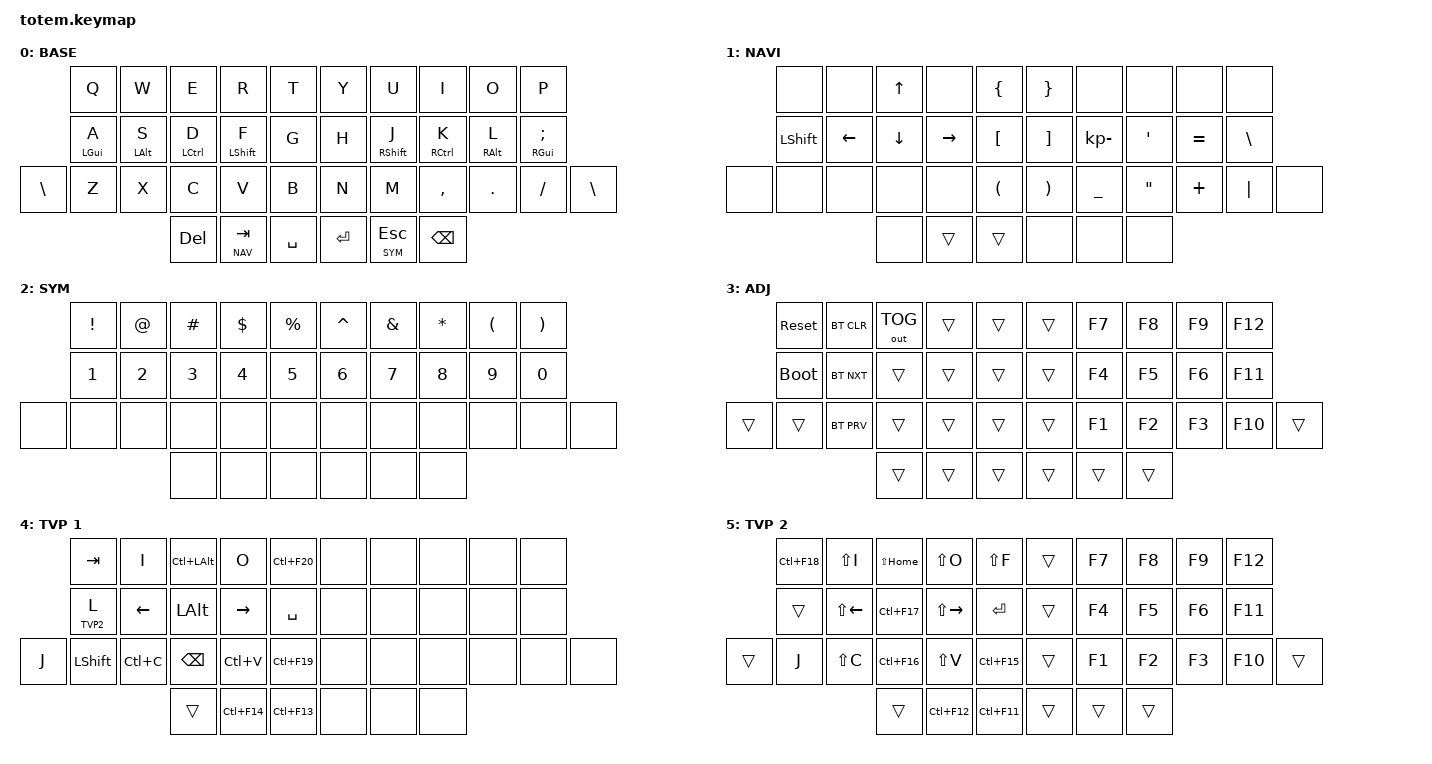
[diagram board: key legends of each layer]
//
//                                                        ▀▀▀▀▀     ▀▀▀▀▀          ▀▀█▀▀
//                                                        ▄▀▀▀▄  ▄  ▄▀▀▀▄  ▄  ▄▀▀▀▄  █  ▄▀▀▀▄
//                                                        █   █  █  █   █  █  █   █  █  █   █
//                                                         ▀▀▀   █   ▀▀▀   █   ▀▀▀   ▀   ▀▀▀
//                                                               █      ▄▄▄█▄▄▄    █   █  
//                                                               ▀      █  █  █     █▄█
//                                                             ▀▀▀▀▀    █  █  █      ▀
//                                                                      ▀  ▀  ▀
//
// ▄▄▄▄▄▄▄▄▄▄▄▄▄▄▄▄▄▄▄▄▄▄▄▄▄▄▄▄▄▄▄▄▄▄▄▄▄▄▄▄▄▄▄▄▄▄▄▄▄▄▄▄▄▄▄▄▄▄▄▄▄▄▄▄▄▄▄▄▄▄▄▄▄▄▄▄▄▄▄▄▄▄▄▄▄▄▄▄▄▄▄▄▄▄▄▄▄▄▄▄▄▄▄▄▄▄▄▄▄▄▄▄▄▄▄▄▄▄▄▄▄▄▄▄▄▄▄▄▄▄▄▄▄▄▄▄▄▄▄▄▄▄▄▄▄▄▄▄▄
       

#include <behaviors.dtsi>
#include <dt-bindings/zmk/keys.h>
#include <dt-bindings/zmk/bt.h>
#include <dt-bindings/zmk/outputs.h>

#define BASE 0
#define NAV  1
#define SYM  2
#define ADJ  3
#define TVP1 4
#define TVP2 5

&mt {
  quick-tap-ms = <150>;
  global-quick-tap;
  flavor = "tap-preferred";
  tapping-term-ms = <170>;
};

/ {
     combos {
            compatible = "zmk,combos";
            combo_esc {
                timeout-ms = <50>;
                key-positions = <0 1>;
                bindings = <&kp ESC>;
            };
            combo_tvp {
                timeout-ms = <100>;
                key-positions = <11 12 13>;
                bindings = <&tog TVP1>;
            };
    };

    macros {
        gif: gif {
            label = "giphy";
            compatible = "zmk,behavior-macro";
            #binding-cells = <0>;
            bindings
                = <&macro_press &kp LSHFT>
                , <&macro_tap &kp N2>
                , <&macro_release &kp LSHFT>
                , <&macro_tap &kp G &kp I &kp F>
                ;
        };
    };

        keymap {
                compatible = "zmk,keymap";
// ▄▄▄▄▄▄▄▄▄▄▄▄▄▄▄▄▄▄▄▄▄▄▄▄▄▄▄▄▄▄▄▄▄▄▄▄▄▄▄▄▄▄▄▄▄▄▄▄▄▄▄▄▄▄▄▄▄▄▄▄▄▄▄▄▄▄▄▄▄▄▄▄▄▄▄▄▄▄▄▄▄▄▄▄▄▄▄▄▄▄▄▄▄▄▄▄▄▄▄▄▄▄▄▄▄▄▄▄▄▄▄▄▄▄▄▄▄▄▄▄▄▄▄▄▄▄▄▄▄▄▄▄▄▄▄▄▄▄▄▄▄▄▄▄▄▄▄▄▄

                base_layer {
// ┏━━━━━━━━━━━━━━━━━━━━━━━━━━━━━━━━━━━━━━━┓
label= "BASE"                              ;
// ┗━━━━━━━━━━━━━━━━━━━━━━━━━━━━━━━━━━━━━━━┛
//             ┏━━━━━━━━━━━┳━━━━━━━━━━━┳━━━━━━━━━━━┳━━━━━━━━━━━┳━━━━━━━━━━━┓   ┏━━━━━━━━━━━┳━━━━━━━━━━━┳━━━━━━━━━━━┳━━━━━━━━━━━┳━━━━━━━━━━━┓
//             ┃     Q     ┃     W     ┃     E     ┃     R     ┃     T     ┃   ┃     Y     ┃     U     ┃     I     ┃     O     ┃     P     ┃
//             ┣━━━━━━━━━━━╋━━━━━━━━━━━╋━━━━━━━━━━━╋━━━━━━━━━━━╋━━━━━━━━━━━┫   ┣━━━━━━━━━━━╋━━━━━━━━━━━╋━━━━━━━━━━━╋━━━━━━━━━━━╋━━━━━━━━━━━┫
//             ┃     A     ┃     S     ┃     D     ┃     F     ┃     G     ┃   ┃     H     ┃     J     ┃     K     ┃     L     ┃    ;:     ┃
// ┏━━━━━━━━━━━╋━━━━━━━━━━━╋━━━━━━━━━━━╋━━━━━━━━━━━╋━━━━━━━━━━━╋━━━━━━━━━━━┫   ┣━━━━━━━━━━━╋━━━━━━━━━━━╋━━━━━━━━━━━╋━━━━━━━━━━━╋━━━━━━━━━━━╋━━━━━━━━━━━┓
// ┃    \|     ┃     Z     ┃     X     ┃     C     ┃     V     ┃     B     ┃   ┃     N     ┃     M     ┃    ,<     ┃    .>     ┃    /?     ┃    \|     ┃
// ┗━━━━━━━━━━━┻━━━━━━━━━━━┻━━━━━━━━━━━╋━━━━━━━━━━━╋━━━━━━━━━━━╋━━━━━━━━━━━┫   ┣━━━━━━━━━━━╋━━━━━━━━━━━╋━━━━━━━━━━━╋━━━━━━━━━━━┻━━━━━━━━━━━┻━━━━━━━━━━━┛
//                                     ┃    DEL    ┃ NAV/TAB   ┃    SPC    ┃   ┃   ENTER   ┃ SYM/ESC   ┃   BSPC    ┃
//                                     ┗━━━━━━━━━━━┻━━━━━━━━━━━┻━━━━━━━━━━━┛   ┗━━━━━━━━━━━┻━━━━━━━━━━━┻━━━━━━━━━━━┛
 bindings = <
// ╷           ╷           ╷           ╷           ╷           ╷           ╷   ╷           ╷           ╷           ╷           ╷           ╷           ╷

                &kp Q       &kp W       &kp E       &kp R       &kp T           &kp Y       &kp U       &kp I       &kp O       &kp P
                &mt LGUI A  &mt LALT S  &mt LCTRL D &mt LSHFT F &kp G           &kp H       &mt RSHFT J &mt RCTRL K &mt RALT L  &mt RGUI SEMI
    &kp BSLH    &kp Z       &kp X       &kp C       &kp V       &kp B           &kp N       &kp M       &kp COMMA   &kp DOT     &kp FSLH    &kp BSLH
                                        &kp DEL   &lt NAV TAB   &kp SPACE       &kp RET   &lt SYM ESC   &kp BSPC
                        >;
                };

// ▄▄▄▄▄▄▄▄▄▄▄▄▄▄▄▄▄▄▄▄▄▄▄▄▄▄▄▄▄▄▄▄▄▄▄▄▄▄▄▄▄▄▄▄▄▄▄▄▄▄▄▄▄▄▄▄▄▄▄▄▄▄▄▄▄▄▄▄▄▄▄▄▄▄▄▄▄▄▄▄▄▄▄▄▄▄▄▄▄▄▄▄▄▄▄▄▄▄▄▄▄▄▄▄▄▄▄▄▄▄▄▄▄▄▄▄▄▄▄▄▄▄▄▄▄▄▄▄▄▄▄▄▄▄▄▄▄▄▄▄▄▄▄▄▄▄▄▄▄


                nav_layer {
// ┏━━━━━━━━━━━━━━━━━━━━━━━━━━━━━━━━━━━━━━━┓
label= "NAVI"                              ;
// ┗━━━━━━━━━━━━━━━━━━━━━━━━━━━━━━━━━━━━━━━┛
//             ┏━━━━━━━━━━━┳━━━━━━━━━━━┳━━━━━━━━━━━┳━━━━━━━━━━━┳━━━━━━━━━━━┓   ┏━━━━━━━━━━━┳━━━━━━━━━━━┳━━━━━━━━━━━┳━━━━━━━━━━━┳━━━━━━━━━━━┓
//             ┃           ┃           ┃     UP    ┃           ┃     {     ┃   ┃     }     ┃           ┃           ┃           ┃           ┃
//             ┣━━━━━━━━━━━╋━━━━━━━━━━━╋━━━━━━━━━━━╋━━━━━━━━━━━╋━━━━━━━━━━━┫   ┣━━━━━━━━━━━╋━━━━━━━━━━━╋━━━━━━━━━━━╋━━━━━━━━━━━╋━━━━━━━━━━━┫
//             ┃   SHIFT   ┃   LEFT    ┃    DOWN   ┃   RIGHT   ┃     [     ┃   ┃     ]     ┃     -     ┃     '     ┃     =     ┃     \     ┃
// ┏━━━━━━━━━━━╋━━━━━━━━━━━╋━━━━━━━━━━━╋━━━━━━━━━━━╋━━━━━━━━━━━╋━━━━━━━━━━━┫   ┣━━━━━━━━━━━╋━━━━━━━━━━━╋━━━━━━━━━━━╋━━━━━━━━━━━╋━━━━━━━━━━━╋━━━━━━━━━━━┓
// ┃           ┃           ┃           ┃           ┃           ┃     (     ┃   ┃     )     ┃     _     ┃     "     ┃     +     ┃     |     ┃           ┃
// ┗━━━━━━━━━━━┻━━━━━━━━━━━┻━━━━━━━━━━━╋━━━━━━━━━━━╋━━━━━━━━━━━╋━━━━━━━━━━━┫   ┣━━━━━━━━━━━╋━━━━━━━━━━━╋━━━━━━━━━━━╋━━━━━━━━━━━┻━━━━━━━━━━━┻━━━━━━━━━━━┛
//                                     ┃           ┃    TAB    ┃    SPC    ┃   ┃           ┃           ┃           ┃
//                                     ┗━━━━━━━━━━━┻━━━━━━━━━━━┻━━━━━━━━━━━┛   ┗━━━━━━━━━━━┻━━━━━━━━━━━┻━━━━━━━━━━━┛
 bindings = <
// ╷           ╷           ╷           ╷           ╷           ╷           ╷   ╷           ╷           ╷           ╷           ╷           ╷           ╷

                &none       &none       &kp UP      &none       &kp LBRC        &kp RBRC    &none        &none      &none       &none
                &kp LSHFT   &kp LEFT    &kp DOWN    &kp RIGHT   &kp LBKT        &kp RBKT    &kp KP_MINUS &kp SQT    &kp EQUAL   &kp BSLH
    &none       &none       &none       &none       &none       &kp LPAR        &kp RPAR    &kp UNDER    &kp DQT    &kp PLUS    &kp PIPE    &none      
                                        &none       &trans      &trans          &none       &none        &none      
                        >;
                };

// ▄▄▄▄▄▄▄▄▄▄▄▄▄▄▄▄▄▄▄▄▄▄▄▄▄▄▄▄▄▄▄▄▄▄▄▄▄▄▄▄▄▄▄▄▄▄▄▄▄▄▄▄▄▄▄▄▄▄▄▄▄▄▄▄▄▄▄▄▄▄▄▄▄▄▄▄▄▄▄▄▄▄▄▄▄▄▄▄▄▄▄▄▄▄▄▄▄▄▄▄▄▄▄▄▄▄▄▄▄▄▄▄▄▄▄▄▄▄▄▄▄▄▄▄▄▄▄▄▄▄▄▄▄▄▄▄▄▄▄▄▄▄▄▄▄▄▄▄▄


                sim_layer {
// ┏━━━━━━━━━━━━━━━━━━━━━━━━━━━━━━━━━━━━━━━┓
label= "SYM"                               ;
// ┗━━━━━━━━━━━━━━━━━━━━━━━━━━━━━━━━━━━━━━━┛
//             ┏━━━━━━━━━━━┳━━━━━━━━━━━┳━━━━━━━━━━━┳━━━━━━━━━━━┳━━━━━━━━━━━┓   ┏━━━━━━━━━━━┳━━━━━━━━━━━┳━━━━━━━━━━━┳━━━━━━━━━━━┳━━━━━━━━━━━┓
//             ┃     !     ┃     @     ┃     #     ┃     $     ┃     %     ┃   ┃     ˆ     ┃     &     ┃     *     ┃     (     ┃     )     ┃
//             ┣━━━━━━━━━━━╋━━━━━━━━━━━╋━━━━━━━━━━━╋━━━━━━━━━━━╋━━━━━━━━━━━┫   ┣━━━━━━━━━━━╋━━━━━━━━━━━╋━━━━━━━━━━━╋━━━━━━━━━━━╋━━━━━━━━━━━┫
//             ┃     1     ┃     2     ┃     3     ┃     4     ┃     5     ┃   ┃     6     ┃     7     ┃     8     ┃     9     ┃     0     ┃
// ┏━━━━━━━━━━━╋━━━━━━━━━━━╋━━━━━━━━━━━╋━━━━━━━━━━━╋━━━━━━━━━━━╋━━━━━━━━━━━┫   ┣━━━━━━━━━━━╋━━━━━━━━━━━╋━━━━━━━━━━━╋━━━━━━━━━━━╋━━━━━━━━━━━╋━━━━━━━━━━━┓
// ┃           ┃           ┃           ┃           ┃           ┃           ┃   ┃           ┃           ┃           ┃           ┃           ┃           ┃
// ┗━━━━━━━━━━━┻━━━━━━━━━━━┻━━━━━━━━━━━╋━━━━━━━━━━━╋━━━━━━━━━━━╋━━━━━━━━━━━┫   ┣━━━━━━━━━━━╋━━━━━━━━━━━╋━━━━━━━━━━━╋━━━━━━━━━━━┻━━━━━━━━━━━┻━━━━━━━━━━━┛
//                                     ┃           ┃           ┃           ┃   ┃           ┃           ┃           ┃
//                                     ┗━━━━━━━━━━━┻━━━━━━━━━━━┻━━━━━━━━━━━┛   ┗━━━━━━━━━━━┻━━━━━━━━━━━┻━━━━━━━━━━━┛
 bindings = <
// ╷           ╷           ╷           ╷           ╷           ╷           ╷   ╷           ╷           ╷           ╷           ╷           ╷           ╷

                &kp EXCL    &kp AT      &kp HASH    &kp DLLR    &kp PRCNT       &kp CARET   &kp AMPS    &kp STAR    &kp LPAR    &kp RPAR       
                &kp N1      &kp N2      &kp N3      &kp N4      &kp N5          &kp N6      &kp N7      &kp N8      &kp N9      &kp N0
    &none       &none       &none       &none       &none       &none           &none       &none       &none       &none       &none       &none
                                        &none       &none       &none           &none       &none       &none      
                        >;
                };

// ▄▄▄▄▄▄▄▄▄▄▄▄▄▄▄▄▄▄▄▄▄▄▄▄▄▄▄▄▄▄▄▄▄▄▄▄▄▄▄▄▄▄▄▄▄▄▄▄▄▄▄▄▄▄▄▄▄▄▄▄▄▄▄▄▄▄▄▄▄▄▄▄▄▄▄▄▄▄▄▄▄▄▄▄▄▄▄▄▄▄▄▄▄▄▄▄▄▄▄▄▄▄▄▄▄▄▄▄▄▄▄▄▄▄▄▄▄▄▄▄▄▄▄▄▄▄▄▄▄▄▄▄▄▄▄▄▄▄▄▄▄▄▄▄▄▄▄▄▄


                adjust_layer {
// ┏━━━━━━━━━━━━━━━━━━━━━━━━━━━━━━━━━━━━━━━┓
label= "ADJ"                               ;
// ┗━━━━━━━━━━━━━━━━━━━━━━━━━━━━━━━━━━━━━━━┛
//             ┏━━━━━━━━━━━┳━━━━━━━━━━━┳━━━━━━━━━━━┳━━━━━━━━━━━┳━━━━━━━━━━━┓   ┏━━━━━━━━━━━┳━━━━━━━━━━━┳━━━━━━━━━━━┳━━━━━━━━━━━┳━━━━━━━━━━━┓
//             ┃   RESET   ┃ BT CLEAR  ┃  OUT TOG  ┃           ┃           ┃   ┃           ┃    F7     ┃    F8     ┃    F9     ┃    F12    ┃
//             ┣━━━━━━━━━━━╋━━━━━━━━━━━╋━━━━━━━━━━━╋━━━━━━━━━━━╋━━━━━━━━━━━┫   ┣━━━━━━━━━━━╋━━━━━━━━━━━╋━━━━━━━━━━━╋━━━━━━━━━━━╋━━━━━━━━━━━┫
//             ┃ BOOTLOAD  ┃ BT NEXT   ┃           ┃           ┃           ┃   ┃           ┃    F4     ┃    F5     ┃    F6     ┃    F11    ┃
// ┏━━━━━━━━━━━╋━━━━━━━━━━━╋━━━━━━━━━━━╋━━━━━━━━━━━╋━━━━━━━━━━━╋━━━━━━━━━━━┫   ┣━━━━━━━━━━━╋━━━━━━━━━━━╋━━━━━━━━━━━╋━━━━━━━━━━━╋━━━━━━━━━━━╋━━━━━━━━━━━┓
// ┃           ┃           ┃ BT PREV   ┃           ┃           ┃           ┃   ┃           ┃    F1     ┃    F2     ┃    F3     ┃    F10    ┃           ┃
// ┗━━━━━━━━━━━┻━━━━━━━━━━━┻━━━━━━━━━━━╋━━━━━━━━━━━╋━━━━━━━━━━━╋━━━━━━━━━━━┫   ┣━━━━━━━━━━━╋━━━━━━━━━━━╋━━━━━━━━━━━╋━━━━━━━━━━━┻━━━━━━━━━━━┻━━━━━━━━━━━┛
//                                     ┃           ┃           ┃           ┃   ┃           ┃           ┃           ┃
//                                     ┗━━━━━━━━━━━┻━━━━━━━━━━━┻━━━━━━━━━━━┛   ┗━━━━━━━━━━━┻━━━━━━━━━━━┻━━━━━━━━━━━┛
 bindings = <
// ╷           ╷           ╷           ╷           ╷           ╷           ╷   ╷           ╷           ╷           ╷           ╷           ╷           ╷

                &sys_reset  &bt BT_CLR &out OUT_TOG &trans      &trans          &trans      &kp F7      &kp F8      &kp F9      &kp F12
                &bootloader &bt BT_NXT  &trans      &trans      &trans          &trans      &kp F4      &kp F5      &kp F6      &kp F11  
    &trans      &trans      &bt BT_PRV  &trans      &trans      &trans          &trans      &kp F1      &kp F2      &kp F3      &kp F10     &trans         
                                        &trans      &trans      &trans          &trans      &trans      &trans      
                        >;
                };

// ▄▄▄▄▄▄▄▄▄▄▄▄▄▄▄▄▄▄▄▄▄▄▄▄▄▄▄▄▄▄▄▄▄▄▄▄▄▄▄▄▄▄▄▄▄▄▄▄▄▄▄▄▄▄▄▄▄▄▄▄▄▄▄▄▄▄▄▄▄▄▄▄▄▄▄▄▄▄▄▄▄▄▄▄▄▄▄▄▄▄▄▄▄▄▄▄▄▄▄▄▄▄▄▄▄▄▄▄▄▄▄▄▄▄▄▄▄▄▄▄▄▄▄▄▄▄▄▄▄▄▄▄▄▄▄▄▄▄▄▄▄▄▄▄▄▄▄▄▄


                tvp1_layer {
// ┏━━━━━━━━━━━━━━━━━━━━━━━━━━━━━━━━━━━━━━━┓
label= "TVP 1"                             ;
// ┗━━━━━━━━━━━━━━━━━━━━━━━━━━━━━━━━━━━━━━━┛
//             ┏━━━━━━━━━━━┳━━━━━━━━━━━┳━━━━━━━━━━━┳━━━━━━━━━━━┳━━━━━━━━━━━┓   ┏━━━━━━━━━━━┳━━━━━━━━━━━┳━━━━━━━━━━━┳━━━━━━━━━━━┳━━━━━━━━━━━┓
//             ┃ NEXT FILE ┃ MARK IN   ┃ ROTATE    ┃ MARK OUT  ┃ SHOW SNAP ┃   ┃           ┃           ┃           ┃           ┃           ┃
//             ┣━━━━━━━━━━━╋━━━━━━━━━━━╋━━━━━━━━━━━╋━━━━━━━━━━━╋━━━━━━━━━━━┫   ┣━━━━━━━━━━━╋━━━━━━━━━━━╋━━━━━━━━━━━╋━━━━━━━━━━━╋━━━━━━━━━━━┫
//             ┃ TVP II    ┃ LEFT      ┃ PAN       ┃ RIGHT     ┃ PLAY/FLIP ┃   ┃           ┃           ┃           ┃           ┃           ┃
// ┏━━━━━━━━━━━╋━━━━━━━━━━━╋━━━━━━━━━━━╋━━━━━━━━━━━╋━━━━━━━━━━━╋━━━━━━━━━━━┫   ┣━━━━━━━━━━━╋━━━━━━━━━━━╋━━━━━━━━━━━╋━━━━━━━━━━━╋━━━━━━━━━━━╋━━━━━━━━━━━┓
// ┃ FULLSCR   ┃ SHIFT     ┃ COPY      ┃ DELETE    ┃ PASTE     ┃ IMG MARK  ┃   ┃           ┃           ┃           ┃           ┃           ┃           ┃
// ┗━━━━━━━━━━━┻━━━━━━━━━━━┻━━━━━━━━━━━╋━━━━━━━━━━━╋━━━━━━━━━━━╋━━━━━━━━━━━┫   ┣━━━━━━━━━━━╋━━━━━━━━━━━╋━━━━━━━━━━━╋━━━━━━━━━━━┻━━━━━━━━━━━┻━━━━━━━━━━━┛
//                                     ┃           ┃ UNDO/SAVE ┃  SEL/MOV  ┃   ┃           ┃           ┃           ┃
//                                     ┗━━━━━━━━━━━┻━━━━━━━━━━━┻━━━━━━━━━━━┛   ┗━━━━━━━━━━━┻━━━━━━━━━━━┻━━━━━━━━━━━┛
 bindings = <
// ╷           ╷           ╷           ╷           ╷           ╷           ╷   ╷           ╷           ╷           ╷           ╷           ╷           ╷

                &kp TAB     &kp I       &kp LC(LALT) &kp O      &kp LC(F20)     &none       &none       &none       &none       &none
                &lt TVP2 L  &kp LEFT    &kp LALT    &kp RIGHT   &kp SPACE       &none       &none       &none       &none       &none
    &kp J       &kp LSHFT   &kp LC(C)   &kp BSPC    &kp LC(V)   &kp LC(F19)     &none       &none       &none       &none       &none       &none        
                                        &trans      &kp LC(F14) &kp LC(F13)     &none       &none       &none    
                        >;
                };

// ▄▄▄▄▄▄▄▄▄▄▄▄▄▄▄▄▄▄▄▄▄▄▄▄▄▄▄▄▄▄▄▄▄▄▄▄▄▄▄▄▄▄▄▄▄▄▄▄▄▄▄▄▄▄▄▄▄▄▄▄▄▄▄▄▄▄▄▄▄▄▄▄▄▄▄▄▄▄▄▄▄▄▄▄▄▄▄▄▄▄▄▄▄▄▄▄▄▄▄▄▄▄▄▄▄▄▄▄▄▄▄▄▄▄▄▄▄▄▄▄▄▄▄▄▄▄▄▄▄▄▄▄▄▄▄▄▄▄▄▄▄▄▄▄▄▄▄▄▄


                tvp2_layer {
// ┏━━━━━━━━━━━━━━━━━━━━━━━━━━━━━━━━━━━━━━━┓
label= "TVP 2"                             ;
// ┗━━━━━━━━━━━━━━━━━━━━━━━━━━━━━━━━━━━━━━━┛
//             ┏━━━━━━━━━━━┳━━━━━━━━━━━┳━━━━━━━━━━━┳━━━━━━━━━━━┳━━━━━━━━━━━┓   ┏━━━━━━━━━━━┳━━━━━━━━━━━┳━━━━━━━━━━━┳━━━━━━━━━━━┳━━━━━━━━━━━┓
//             ┃ SOLO      ┃ TOGGLE IN ┃ RESET ROT ┃ TOGGLE OUT┃ TAKE SNAP ┃   ┃           ┃           ┃           ┃           ┃           ┃
//             ┣━━━━━━━━━━━╋━━━━━━━━━━━╋━━━━━━━━━━━╋━━━━━━━━━━━╋━━━━━━━━━━━┫   ┣━━━━━━━━━━━╋━━━━━━━━━━━╋━━━━━━━━━━━╋━━━━━━━━━━━╋━━━━━━━━━━━┫
//             ┃ ---       ┃ LAST KEY  ┃ NEW KEY   ┃ NEXT KEY  ┃ ENTER     ┃   ┃           ┃           ┃           ┃           ┃           ┃
// ┏━━━━━━━━━━━╋━━━━━━━━━━━╋━━━━━━━━━━━╋━━━━━━━━━━━╋━━━━━━━━━━━╋━━━━━━━━━━━┫   ┣━━━━━━━━━━━╋━━━━━━━━━━━╋━━━━━━━━━━━╋━━━━━━━━━━━╋━━━━━━━━━━━╋━━━━━━━━━━━┓
// ┃           ┃ FULLSCR   ┃ CPY2BRUSH ┃ DEL HEAD  ┃ PSTinPLACE┃ BOOK MARK ┃   ┃           ┃           ┃           ┃           ┃           ┃           ┃
// ┗━━━━━━━━━━━┻━━━━━━━━━━━┻━━━━━━━━━━━╋━━━━━━━━━━━╋━━━━━━━━━━━╋━━━━━━━━━━━┫   ┣━━━━━━━━━━━╋━━━━━━━━━━━╋━━━━━━━━━━━╋━━━━━━━━━━━┻━━━━━━━━━━━┻━━━━━━━━━━━┛
//                                     ┃           ┃ REDO/SAV1 ┃TRANS/WARP ┃   ┃           ┃           ┃           ┃
//                                     ┗━━━━━━━━━━━┻━━━━━━━━━━━┻━━━━━━━━━━━┛   ┗━━━━━━━━━━━┻━━━━━━━━━━━┻━━━━━━━━━━━┛
 bindings = <
// ╷           ╷           ╷           ╷           ╷           ╷           ╷   ╷           ╷           ╷           ╷           ╷           ╷           ╷

                &kp LC(F18) &kp LS(I)  &kp LS(HOME) &kp LS(O)   &kp LS(F)       &trans      &kp F7      &kp F8      &kp F9      &kp F12
                &trans      &kp LS(LEFT) &kp LC(F17) &kp LS(RIGHT) &kp RET      &trans      &kp F4      &kp F5      &kp F6      &kp F11  
    &trans      &kp J       &kp LS(C)   &kp LC(F16) &kp LS(V)   &kp LC(F15)     &trans      &kp F1      &kp F2      &kp F3      &kp F10     &trans         
                                        &trans      &kp LC(F12) &kp LC(F11)     &trans      &trans      &trans      
                        >;
                };
        };
};
